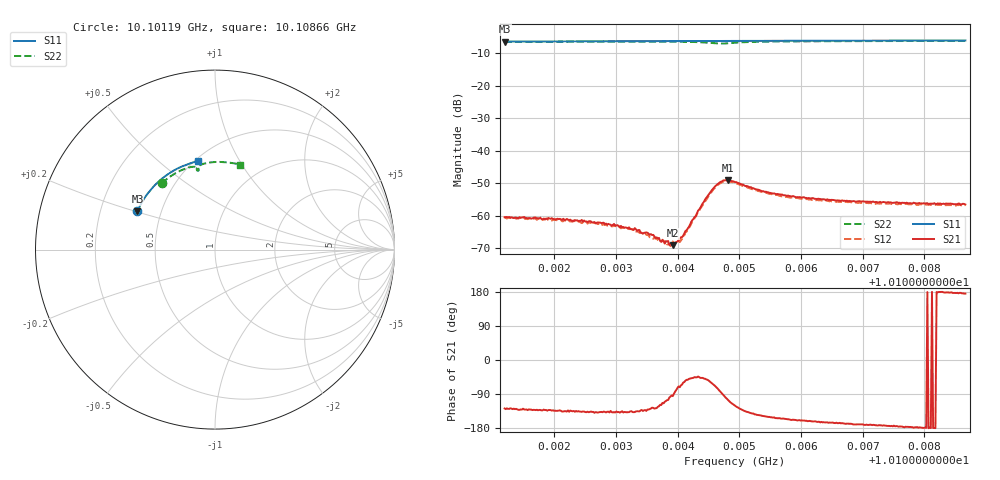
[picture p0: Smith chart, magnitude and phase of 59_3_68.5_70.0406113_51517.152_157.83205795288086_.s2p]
#  HZ  S  RI  R  50.00
! Rohde & Schwarz Vector Network Analyzer
! Rohde-Schwarz,ZNB20-2Port,1311601062101988,3.16
! Created: UTC 3/20/2024, 5:06:19 PM
! freq[Hz]  re:S11  im:S11  re:S21  im:S21  re:S12  im:S12  re:S22  im:S22
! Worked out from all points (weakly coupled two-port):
!   401 points, 10.10119 GHz to 10.10866 GHz, reference 50 ohm
!   highest |S21| = -49.01 dB at 10.10482 GHz (marker M1); lowest = -69.0 dB at 10.10392 GHz (marker M2)
!   lowest |S11| = -6.3 dB at 10.10119 GHz (marker M3), VSWR 2.86, Z = 18.3 + j10.2 ohm
!   |S11| at or under -10 dB: nowhere
!   |S22| runs from -7.0 to -6.1 dB; largest |S21 - S12| = 0.00037
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1.0101194e10  -0.4321 0.214  -0.000586 -0.000752  -0.000533 -0.000779  -0.2968 0.3707
1.0102034e10  -0.4094 0.2599  -0.00062 -0.000636  -0.000552 -0.000651  -0.2537 0.4042
1.0102445e10  -0.3967 0.2813  -0.000629 -0.000592  -0.000489 -0.000597  -0.2312 0.4188
1.0102763e10  -0.386 0.2973  -0.000563 -0.000526  -0.000475 -0.000532  -0.2131 0.4292
1.0103173e10  -0.3712 0.3176  -0.000486 -0.000438  -0.000461 -0.000485  -0.1885 0.4415
1.0103342e10  -0.3648 0.3255  -0.000417 -0.000413  -0.000365 -0.000441  -0.178 0.4462
1.0103435e10  -0.3613 0.3299  -0.00037 -0.000378  -0.000329 -0.000408  -0.1721 0.4486
1.0103528e10  -0.3576 0.3343  -0.000346 -0.000403  -0.000289 -0.000413  -0.166 0.4509
1.0103696e10  -0.3509 0.3419  -0.000242 -0.000387  -0.000188 -0.00037  -0.1548 0.4548
1.0103865e10  -0.344 0.3495  -5.7e-05 -0.000352  -3.1e-05 -0.000367  -0.1431 0.4582
1.0103921e10  -0.3418 0.352  -3.31e-05 -0.000352  4.1e-05 -0.0004  -0.1388 0.4591
1.0104014e10  -0.3378 0.3561  0.000145 -0.000394  0.000136 -0.00039  -0.1317 0.4606
1.010407e10  -0.3356 0.3586  0.000199 -0.000425  0.00025 -0.00036  -0.1274 0.4611
1.0104406e10  -0.3209 0.3728  0.00106 -0.00114  0.00108 -0.000988  -0.0991 0.4578
1.0104574e10  -0.3133 0.3795  0.00116 -0.00235  0.00133 -0.00217  -0.0902 0.4465
1.0104686e10  -0.3085 0.3839  0.000433 -0.00326  0.000674 -0.00309  -0.0933 0.4393
1.0104817e10  -0.3024 0.3891  -0.000953 -0.00341  -0.00063 -0.00335  -0.1009 0.4426
1.0104929e10  -0.2973 0.3935  -0.00167 -0.00284  -0.00139 -0.00288  -0.1014 0.4517
1.0105508e10  -0.2696 0.415  -0.00197 -0.00109  -0.00179 -0.00123  -0.0644 0.4779
1.010618e10  -0.2354 0.437  -0.00178 -0.000584  -0.0016 -0.000716  -0.0181 0.4865
1.0107432e10  -0.1672 0.4702  -0.00159 -0.000169  -0.00151 -0.000294  0.0638 0.4865
1.0108665e10  -0.0961 0.4922  -0.00149 0.000124  -0.00145 -6.65e-05  0.1417 0.4727
